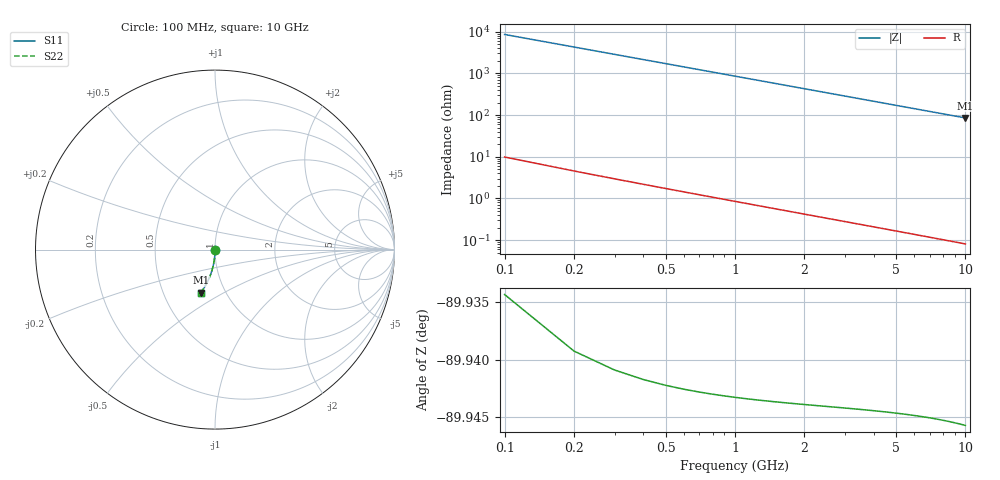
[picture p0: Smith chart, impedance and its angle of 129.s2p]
# Hz S RI R 50.00
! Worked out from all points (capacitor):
!   100 points, 100 MHz to 10 GHz, reference 50 ohm
!   read as one part in shunt: C = 185 fF near 100 MHz
!   lowest |Z| = 85.4 ohm at 10 GHz (marker M1)
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1e8  0.000101 -0.0026  0.9999 -0.00322  0.9999 -0.00322  0.000101 -0.0026
2e8  7.36e-05 -0.00521  0.9998 -0.00645  0.9998 -0.00645  7.36e-05 -0.00521
3e8  2.94e-05 -0.00781  0.9998 -0.00967  0.9998 -0.00967  2.94e-05 -0.00781
4e8  -3.18e-05 -0.0104  0.9997 -0.0129  0.9997 -0.0129  -3.18e-05 -0.0104
5e8  -0.00011 -0.013  0.9997 -0.0161  0.9997 -0.0161  -0.00011 -0.013
6e8  -0.000205 -0.0156  0.9996 -0.0193  0.9996 -0.0193  -0.000205 -0.0156
7e8  -0.000316 -0.0182  0.9994 -0.0226  0.9994 -0.0226  -0.000316 -0.0182
8e8  -0.000445 -0.0208  0.9993 -0.0258  0.9993 -0.0258  -0.000445 -0.0208
9e8  -0.00059 -0.0234  0.9992 -0.029  0.9992 -0.029  -0.00059 -0.0234
1.1e9  -0.000931 -0.0286  0.9988 -0.0355  0.9988 -0.0355  -0.000931 -0.0286
1.4e9  -0.00157 -0.0364  0.9982 -0.0451  0.9982 -0.0451  -0.00157 -0.0364
1.8e9  -0.00265 -0.0468  0.997 -0.058  0.997 -0.058  -0.00265 -0.0468
2.1e9  -0.00364 -0.0545  0.996 -0.0676  0.996 -0.0676  -0.00364 -0.0545
2.5e9  -0.00519 -0.0648  0.9944 -0.0804  0.9944 -0.0804  -0.00519 -0.0648
2.9e9  -0.007 -0.0751  0.9926 -0.0931  0.9926 -0.0931  -0.007 -0.0751
3.4e9  -0.00964 -0.0878  0.9899 -0.109  0.9899 -0.109  -0.00964 -0.0878
4.2e9  -0.0147 -0.108  0.9847 -0.1341  0.9847 -0.1341  -0.0147 -0.108
5.1e9  -0.0216 -0.1302  0.9776 -0.1621  0.9776 -0.1621  -0.0216 -0.1302
5.9e9  -0.0288 -0.1496  0.9703 -0.1865  0.9703 -0.1865  -0.0288 -0.1496
6.7e9  -0.0369 -0.1685  0.9619 -0.2104  0.9619 -0.2104  -0.0369 -0.1685
8.4e9  -0.0571 -0.2068  0.9412 -0.2595  0.9412 -0.2595  -0.0571 -0.2068
1e10  -0.0795 -0.2402  0.9183 -0.3032  0.9183 -0.3032  -0.0795 -0.2402
